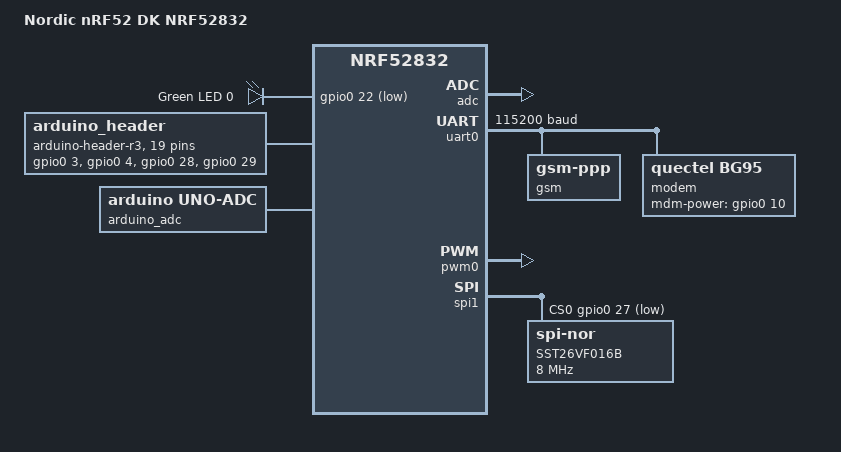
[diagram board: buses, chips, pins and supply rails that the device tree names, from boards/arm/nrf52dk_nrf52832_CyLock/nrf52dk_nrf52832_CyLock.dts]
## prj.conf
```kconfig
CONFIG_GPIO=y
CONFIG_CONSOLE=y
CONFIG_UART_CONSOLE=y
CONFIG_RTT_CONSOLE=y
CONFIG_USE_SEGGER_RTT=y
```

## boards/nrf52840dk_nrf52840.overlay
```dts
/ {
	zephyr,user {
		io-channels = <&adc 0>;
	};
};


/ {
	aliases {
		modemuart = &uart0;
		gnssuart = &uart1;
		gpio0 = &gpio0;
		gpio1 = &gpio1;
		adc0 =  &adc;
		adc = &adc;
		i2c0 = &i2c0;
	};
};

/{
	chosen {
		zephyr,console = &uart0;
		zephyr,shell-uart = &uart0;
		zephyr,uart-mcumgr = &uart0;
		zephyr,bt-mon-uart = &uart0;
		zephyr,bt-c2h-uart = &uart0;
		zephyr,sram = &sram0;
		zephyr,flash = &flash0;
		// zephyr,code-partition = &slot0_partition;
		nordic,pm-ext-flash = &SST26VF016B;
	};


	leds {
		compatible = "gpio-leds";
		led0: led_0 {
			status = "disabled";
			gpios = <&gpio0 13 GPIO_ACTIVE_LOW>;
			label = "Green LED 0";
		};
		led1: led_1 {
			status = "disabled";
			gpios = <&gpio0 14 GPIO_ACTIVE_LOW>;
			label = "Green LED 1";
		};
		led2: led_2 {
			status = "disabled";
			gpios = <&gpio0 15 GPIO_ACTIVE_LOW>;
			label = "Green LED 2";
		};
		led3: led_3 {
			status = "disabled";
			gpios = <&gpio0 16 GPIO_ACTIVE_LOW>;
			label = "Green LED 3";
		};
	};

	pwmleds {
		compatible = "pwm-leds";
		status = "disabled";
		pwm_led0: pwm_led_0 {
			pwms = <&pwm0 0 PWM_MSEC(20) PWM_POLARITY_INVERTED>;
		};
	};

	buttons {
		compatible = "gpio-keys";
		button0: button_0 {
			status = "disabled";
			gpios = <&gpio1 0 (GPIO_PULL_UP | GPIO_ACTIVE_HIGH)>;
			label = "Push button switch 0";
			zephyr,code = <INPUT_KEY_0>;
		};
		button1: button_1 {
			status = "disabled";
			gpios = <&gpio0 12 (GPIO_PULL_UP | GPIO_ACTIVE_LOW)>;
			label = "Push button switch 1";
			zephyr,code = <INPUT_KEY_1>;
		};
		button2: button_2 {
			status = "disabled";
			gpios = <&gpio0 24 (GPIO_PULL_UP | GPIO_ACTIVE_LOW)>;
			label = "Push button switch 2";
			zephyr,code = <INPUT_KEY_2>;
		};
		button3: button_3 {
			status = "disabled";
			gpios = <&gpio0 25 (GPIO_PULL_UP | GPIO_ACTIVE_LOW)>;
			label = "Push button switch 3";
			zephyr,code = <INPUT_KEY_3>;
		};
	};

};

&pinctrl {


	spi1_default: spi1_default {
		group1 {
			psels = <NRF_PSEL(SPIM_SCK, 0, 23)>,
			        <NRF_PSEL(SPIM_MOSI, 0, 24)>,
			        <NRF_PSEL(SPIM_MISO, 0, 22)>;
		};
	};

	spi1_sleep: spi1_sleep {
		group1 {
			psels = <NRF_PSEL(SPIM_SCK, 0, 23)>,
			        <NRF_PSEL(SPIM_MOSI, 0, 24)>,
			        <NRF_PSEL(SPIM_MISO, 0, 22)>;
			low-power-enable;
		};
	};

	i2c0_default: i2c0_default {
		group1 {
			psels = <NRF_PSEL(TWIM_SDA, 0, 13)>,
					<NRF_PSEL(TWIM_SCL, 0, 14)>;
			bias-pull-up;
		};
	};

	i2c0_sleep: i2c0_sleep {
		group1 {
			psels = <NRF_PSEL(TWIM_SDA, 0, 13)>,
					<NRF_PSEL(TWIM_SCL, 0, 14)>;
			bias-pull-up;
			low-power-enable;
		};
	};
};

&uart1 {
	status = "disabled";
	current-speed = <9600>;


	gnss: gnss-nmea-generic {
		status = "okay";
		compatible = "gnss-nmea-generic";
		// uart-baudrate = <115200>;
		zephyr,deferred-init;
	};
};

&i2c0 {
	status = "disabled";
	lis2dh12: lis2dh12@19 {
		compatible = "st,lis2dh12", "st,lis2dh";
		reg = <0x19>;
		disconnect-sdo-sa0-pull-up;
		zephyr,deferred-init;
		// irq-gpios = <&gpio1 8 GPIO_ACTIVE_HIGH>;
	};

	pfc8563_rtc: pfc8563@51 {
		compatible = "nxp,pcf8563";
		reg = <0x51>;
		status = "okay";
		alarms-count = <1>;
	};

};

&adc {
	status = "disabled";
	#address-cells = <1>;
	#size-cells = <0>;

	channel@0 {
		reg = <0>;
		zephyr,gain = "ADC_GAIN_1_6";
		zephyr,reference = "ADC_REF_INTERNAL";
		zephyr,acquisition-time = <ADC_ACQ_TIME_DEFAULT>;
		zephyr,input-positive = <NRF_SAADC_AIN0>; /* P0.02 */
		zephyr,resolution = <12>;
	};
};



&i2c1 {
	status = "disabled";
};


&spi0 {
	status = "disabled";
};

&spi1 {
	status = "disabled";
	cs-gpios = <&gpio0 21 GPIO_ACTIVE_LOW>;
	SST26VF016B: SST26VF016B@0 {
		compatible = "jedec,spi-nor";
		reg = <0>;
		spi-max-frequency = <8000000>;
		requires-ulbpr;
		// label = "SST26VF016B";
		jedec-id = [ BF 26 41  ];
		//sfdp-bfp = [
		//    e5 20 f1 ff  ff ff ff 03  44 eb 08 6b  08 3b 04 bb
		//    ee ff ff ff  ff ff 00 ff  ff ff 00 ff  0c 20 0f 52
		//    10 d8 00 ff  23 72 f5 00  82 ed 04 cc  44 83 68 44
		//    30 b0 30 b0  f7 c4 d5 5c  00 be 29 ff  f0 d0 ff ff
		//];
		size = <16777216>;
		//size = <67108864>;
		status = "okay";
		has-dpd;
		t-enter-dpd = <10000>;
		t-exit-dpd = <35000>;
	};

};

&spi2 {
	status = "disabled";
};
&spi3 {
	status = "disabled";
};

&qspi {
	status = "disabled";
};
```

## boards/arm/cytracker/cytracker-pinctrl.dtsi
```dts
/*
 * Copyright (c) 2022 Nordic Semiconductor
 * SPDX-License-Identifier: Apache-2.0
 */

&pinctrl {
	uart0_default: uart0_default {
		group1 {
			psels = <NRF_PSEL(UART_TX, 0, 15)>,
			        <NRF_PSEL(UART_RX, 0, 14)>,
			        <NRF_PSEL(UART_RTS, 0, 26)>,
			        <NRF_PSEL(UART_CTS, 0, 25)>;

		};
	};

	uart0_sleep: uart0_sleep {
		group1 {
			psels = <NRF_PSEL(UART_TX, 0, 15)>,
			        <NRF_PSEL(UART_RX, 0, 14)>,
			        <NRF_PSEL(UART_RTS, 0, 26)>,
			        <NRF_PSEL(UART_CTS, 0, 25)>;
			low-power-enable;
		};
	};

	i2c0_default: i2c0_default {
		group1 {
			psels = <NRF_PSEL(TWIM_SDA, 0, 26)>,
					<NRF_PSEL(TWIM_SCL, 0, 27)>;
		};
	};

	i2c0_sleep: i2c0_sleep {
		group1 {
			psels = <NRF_PSEL(TWIM_SDA, 0, 26)>,
					<NRF_PSEL(TWIM_SCL, 0, 27)>;
			low-power-enable;
		};
	};

	i2c1_default: i2c1_default {
		group1 {
			psels = <NRF_PSEL(TWIM_SDA, 0, 30)>,
					<NRF_PSEL(TWIM_SCL, 0, 31)>;
		};
	};

	i2c1_sleep: i2c1_sleep {
		group1 {
			psels = <NRF_PSEL(TWIM_SDA, 0, 30)>,
					<NRF_PSEL(TWIM_SCL, 0, 31)>;
			low-power-enable;
		};
	};

	pwm0_default: pwm0_default {
		group1 {
			psels = <NRF_PSEL(PWM_OUT0, 0, 17)>;
			nordic,invert;
		};
	};

	pwm0_sleep: pwm0_sleep {
		group1 {
			psels = <NRF_PSEL(PWM_OUT0, 0, 17)>;
			low-power-enable;
		};
	};

	spi0_default: spi0_default {
		group1 {
			psels = <NRF_PSEL(SPIM_SCK, 0, 29)>,
			        <NRF_PSEL(SPIM_MOSI, 0, 31)>,
			        <NRF_PSEL(SPIM_MISO, 0, 28)>;
		};
	};

	spi0_sleep: spi0_sleep {
		group1 {
			psels = <NRF_PSEL(SPIM_SCK, 0, 27)>,
			        <NRF_PSEL(SPIM_MOSI, 0, 26)>,
			        <NRF_PSEL(SPIM_MISO, 0, 28)>;
			low-power-enable;
		};
	};

	spi1_default: spi1_default {
		group1 {
			psels = <NRF_PSEL(SPIM_SCK, 0, 29)>,
			        <NRF_PSEL(SPIM_MOSI, 0, 31)>,
			        <NRF_PSEL(SPIM_MISO, 0, 28)>;
		};
	};

	spi1_sleep: spi1_sleep {
		group1 {
			psels = <NRF_PSEL(SPIM_SCK, 0, 29)>,
			        <NRF_PSEL(SPIM_MOSI, 0, 31)>,
			        <NRF_PSEL(SPIM_MISO, 0, 28)>;
			low-power-enable;
		};
	};

	spi2_default: spi2_default {
		group1 {
			psels = <NRF_PSEL(SPIM_SCK, 0, 25)>,
			        <NRF_PSEL(SPIM_MOSI, 0, 23)>,
			        <NRF_PSEL(SPIM_MISO, 0, 24)>;
		};
	};

	spi2_sleep: spi2_sleep {
		group1 {
			psels = <NRF_PSEL(SPIM_SCK, 0, 25)>,
			        <NRF_PSEL(SPIM_MOSI, 0, 23)>,
			        <NRF_PSEL(SPIM_MISO, 0, 24)>;
			low-power-enable;
		};
	};

};
```

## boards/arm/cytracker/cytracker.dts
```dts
// Copyright (c) 2024 Nordic Semiconductor ASA
// SPDX-License-Identifier: Apache-2.0

/dts-v1/;
#include <nordic/nrf52840_qiaa.dtsi>
#include "cytracker-pinctrl.dtsi"
/ {
	aliases {
		modem = &modem;
		modem-uart = &uart0;
	};
};

/ {
	model = "CyTracker";
	compatible = "cypodsolutions,cytracker";

	chosen {
		zephyr,console = &uart0;
		zephyr,shell-uart = &uart0;
		zephyr,uart-mcumgr = &uart0;
		zephyr,bt-mon-uart = &uart0;
		zephyr,bt-c2h-uart = &uart0;
		zephyr,sram = &sram0;
		zephyr,flash = &flash0;
		// zephyr,code-partition = &slot0_partition;
		nordic,pm-ext-flash = &SST26VF016B;
	};
};

&pwm0 {
	status = "okay";
	pinctrl-0 = <&pwm0_default>;
	pinctrl-1 = <&pwm0_sleep>;
	pinctrl-names = "default", "sleep";
};

&adc {
	status = "okay";
};


&spi1 {
	compatible = "nordic,nrf-spi";
	status = "okay";
	pinctrl-0 = <&spi1_default>;
	pinctrl-1 = <&spi1_sleep>;
	pinctrl-names = "default", "sleep";
	cs-gpios = <&gpio0 27 GPIO_ACTIVE_LOW>;
	SST26VF016B: SST26VF016B@0 {
		compatible = "jedec,spi-nor";
		reg = <0>;
		spi-max-frequency = <8000000>;
		requires-ulbpr;
		// label = "SST26VF016B";
		jedec-id = [ BF 26 41  ];
		//sfdp-bfp = [
		//    e5 20 f1 ff  ff ff ff 03  44 eb 08 6b  08 3b 04 bb
		//    ee ff ff ff  ff ff 00 ff  ff ff 00 ff  0c 20 0f 52
		//    10 d8 00 ff  23 72 f5 00  82 ed 04 cc  44 83 68 44
		//    30 b0 30 b0  f7 c4 d5 5c  00 be 29 ff  f0 d0 ff ff
		//];
		size = <16777216>;
		//size = <67108864>;
		status = "okay";
		has-dpd;
		t-enter-dpd = <10000>;
		t-exit-dpd = <35000>;
	};
};


&gpio0 {
	status = "okay";
};


arduino_serial: &uart0 {
	status = "okay";
	compatible = "nordic,nrf-uarte";
	current-speed = <115200>;
	pinctrl-0 = <&uart0_default>;
	pinctrl-1 = <&uart0_sleep>;
	pinctrl-names = "default", "sleep";
	gsm: gsm-modem {
		compatible = "zephyr,gsm-ppp";
		// label = "gsm_ppp";
	};


	modem: modem {
		compatible = "quectel,bg95";
		mdm-power-gpios = <&gpio0 10 GPIO_ACTIVE_HIGH>;
		status = "okay";
	};
	// modem: modem {
		//     compatible = "quectel,bg95";
		//     mdm-power-gpios = <&gpio0 10 GPIO_ACTIVE_HIGH>;
		//     status = "okay";
	// };
};


&flash0 {
	partitions {
		compatible = "fixed-partitions";
		#address-cells = <1>;
		#size-cells = <1>;

		boot_partition: partition@0 {
			label = "mcuboot";
			reg = <0x0 0xc000>;
		};
		slot0_partition: partition@c000 {
			label = "image-0";
			reg = <0xc000 0x72000>;
		};
		slot1_partition: partition@7e000 {
			label = "image-1";
			reg = <0x7e000 0x72000>;
		};
		scratch_partition: partition@f0000 {
			label = "image-scratch";
			reg = <0xf0000 0xa000>;
		};
		storage_partition: partition@fa000 {
			label = "storage";
			reg = <0xfa000 0x6000>;
		};
	};
};
```

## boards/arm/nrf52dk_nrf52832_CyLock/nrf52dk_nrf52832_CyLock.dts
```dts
/*
 * Copyright (c) 2017 Shawn Nock <shawn@monadnock.ca>
 * Copyright (c) 2017 Linaro Limited
 *
 * SPDX-License-Identifier: Apache-2.0
 */
/dts-v1/;
#include <nordic/nrf52832_qfaa.dtsi>
#include "nrf52dk_nrf52832_CyLock-pinctrl.dtsi"

/ {
	aliases {
		modem = &modem;
		modem-uart = &uart0;
	};
};

/ {
	model = "Nordic nRF52 DK NRF52832";
	compatible = "nordic,nrf52-dk-nrf52832";

	chosen {
		zephyr,console = &uart0;
		zephyr,shell-uart = &uart0;
		zephyr,uart-mcumgr = &uart0;
		zephyr,bt-mon-uart = &uart0;
		zephyr,bt-c2h-uart = &uart0;
		zephyr,sram = &sram0;
		zephyr,flash = &flash0;
		// zephyr,code-partition = &slot0_partition;
		nordic,pm-ext-flash = &SST26VF016B;
	};


	leds {
		compatible = "gpio-leds";
		led0: led_0 {
			gpios = <&gpio0 22 GPIO_ACTIVE_LOW>;
			label = "Green LED 0";
			// status = "disabled";
		};
		led1: led_1 {
			gpios = <&gpio0 18 GPIO_ACTIVE_LOW>;
			label = "Green LED 1";
			status = "disabled";
		};
		led2: led_2 {
			gpios = <&gpio0 19 GPIO_ACTIVE_LOW>;
			label = "Green LED 2";
			status = "disabled";
		};
		led3: led_3 {
			gpios = <&gpio0 20 GPIO_ACTIVE_LOW>;
			label = "Green LED 3";
			status = "disabled";
		};
	};

	pwmleds {
		compatible = "pwm-leds";
		pwm_led0: pwm_led_0 {
			pwms = <&pwm0 0 PWM_MSEC(20) PWM_POLARITY_INVERTED>;
			status = "disabled";
		};
	};

	buttons {
		compatible = "gpio-keys";
		button0: button_0 {
			gpios = <&gpio0 13 (GPIO_PULL_UP | GPIO_ACTIVE_LOW)>;
			label = "Push button switch 0";
			status = "disabled";
		};
		button1: button_1 {
			gpios = <&gpio0 14 (GPIO_PULL_UP | GPIO_ACTIVE_LOW)>;
			label = "Push button switch 1";
			status = "disabled";
		};
		button2: button_2 {
			gpios = <&gpio0 15 (GPIO_PULL_UP | GPIO_ACTIVE_LOW)>;
			label = "Push button switch 2";
			status = "disabled";
		};
		button3: button_3 {
			gpios = <&gpio0 16 (GPIO_PULL_UP | GPIO_ACTIVE_LOW)>;
			label = "Push button switch 3";
			status = "disabled";
		};
	};

	arduino_header: connector {
		compatible = "arduino-header-r3";
		#gpio-cells = <2>;
		gpio-map-mask = <0xffffffff 0xffffffc0>;
		gpio-map-pass-thru = <0 0x3f>;
		gpio-map = <0 0 &gpio0 3 0>,    /* A0 */
		<1 0 &gpio0 4 0>,    /* A1 */
		<2 0 &gpio0 28 0>,    /* A2 */
		<3 0 &gpio0 29 0>,    /* A3 */
		<4 0 &gpio0 30 0>,    /* A4 */
		<5 0 &gpio0 31 0>,    /* A5 */
		// <6 0 &gpio0 11 0>,    /* D0 */
		// <7 0 &gpio0 12 0>,    /* D1 */
		<8 0 &gpio0 13 0>,    /* D2 */
		<9 0 &gpio0 14 0>,    /* D3 */
		<10 0 &gpio0 15 0>,    /* D4 */
		<11 0 &gpio0 16 0>,    /* D5 */
		<12 0 &gpio0 17 0>,    /* D6 */
		<13 0 &gpio0 18 0>,    /* D7 */
		<14 0 &gpio0 19 0>,    /* D8 */
		<15 0 &gpio0 20 0>,    /* D9 */
		<16 0 &gpio0 22 0>,    /* D10 */
		<17 0 &gpio0 23 0>,    /* D11 */
		<18 0 &gpio0 24 0>,    /* D12 */
		<19 0 &gpio0 25 0>,    /* D13 */
		<20 0 &gpio0 26 0>;    /* D14 */
		// <21 0 &gpio0 27 0>;    /* D15 */
	};

	arduino_adc: analog-connector {
		compatible = "arduino,uno-adc";
		#io-channel-cells = <1>;
		io-channel-map = <0 &adc 1>, /* A0 = P0.3 = AIN1 */
		                 <1 &adc 2>, /* A1 = P0.4 = AIN2 */
		                 <2 &adc 4>, /* A2 = P0.28 = AIN4 */
		                 <3 &adc 5>, /* A3 = P0.29 = AIN5 */
		                 <4 &adc 6>, /* A4 = P0.30 = AIN6 */
		                 <5 &adc 7>;    /* A5 = P0.31 = AIN7 */
	};

	/* These aliases are provided for compatibility with samples */
	aliases {
		gpio0 = &gpio0;
		watchdog0 = &wdt0;
		spiflash = &spi1;
		led = &led0;
		adc0 =  &adc;
		uart = &uart0;
		spiflash0 = &SST26VF016B;
	};
};

&adc {
	status = "okay";
};

&gpiote {
	status = "okay";
};

&uicr {
	// gpio-as-nreset;
	nfct-pins-as-gpios;
};


&gpio0 {
	status = "okay";
};

arduino_serial: &uart0 {
	status = "okay";
	compatible = "nordic,nrf-uarte";
	current-speed = <115200>;
	pinctrl-0 = <&uart0_default>;
	pinctrl-1 = <&uart0_sleep>;
	pinctrl-names = "default", "sleep";
	gsm: gsm-modem {
		compatible = "zephyr,gsm-ppp";
		// label = "gsm_ppp";
	};


	modem: modem {
		compatible = "quectel,bg95";
		mdm-power-gpios = <&gpio0 10 GPIO_ACTIVE_HIGH>;
		status = "okay";
	};
	// modem: modem {
		//     compatible = "quectel,bg95";
		//     mdm-power-gpios = <&gpio0 10 GPIO_ACTIVE_HIGH>;
		//     status = "okay";
	// };
};

arduino_i2c: &i2c0 {
	compatible = "nordic,nrf-twi";
	status = "disabled";
	pinctrl-0 = <&i2c0_default>;
	pinctrl-1 = <&i2c0_sleep>;
	pinctrl-names = "default", "sleep";
};

&i2c1 {
	compatible = "nordic,nrf-twi";
	/* Cannot be used together with spi1. */
	status = "disabled";
	pinctrl-0 = <&i2c1_default>;
	pinctrl-1 = <&i2c1_sleep>;
	pinctrl-names = "default", "sleep";
};

&pwm0 {
	status = "okay";
	pinctrl-0 = <&pwm0_default>;
	pinctrl-1 = <&pwm0_sleep>;
	pinctrl-names = "default", "sleep";
};

&spi0 {
	compatible = "nordic,nrf-spi";
	/* Cannot be used together with i2c0. */
	status = "disabled";
	pinctrl-0 = <&spi0_default>;
	pinctrl-1 = <&spi0_sleep>;
	pinctrl-names = "default", "sleep";
};

&spi1 {
	compatible = "nordic,nrf-spi";
	status = "okay";
	pinctrl-0 = <&spi1_default>;
	pinctrl-1 = <&spi1_sleep>;
	pinctrl-names = "default", "sleep";
	cs-gpios = <&gpio0 27 GPIO_ACTIVE_LOW>;
	SST26VF016B: SST26VF016B@0 {
		compatible = "jedec,spi-nor";
		reg = <0>;
		spi-max-frequency = <8000000>;
		requires-ulbpr;
		// label = "SST26VF016B";
		jedec-id = [ BF 26 41 ];
		//sfdp-bfp = [
		//    e5 20 f1 ff  ff ff ff 03  44 eb 08 6b  08 3b 04 bb
		//    ee ff ff ff  ff ff 00 ff  ff ff 00 ff  0c 20 0f 52
		//    10 d8 00 ff  23 72 f5 00  82 ed 04 cc  44 83 68 44
		//    30 b0 30 b0  f7 c4 d5 5c  00 be 29 ff  f0 d0 ff ff
		//];
		size = <16777216>;
		//size = <67108864>;
		status = "okay";
		has-dpd;
		t-enter-dpd = <10000>;
		t-exit-dpd = <35000>;
	};
};

arduino_spi: &spi2 {
	compatible = "nordic,nrf-spi";
	status = "disabled";
	cs-gpios = <&arduino_header 16 GPIO_ACTIVE_LOW>; /* D10 */
	pinctrl-0 = <&spi2_default>;
	pinctrl-1 = <&spi2_sleep>;
	pinctrl-names = "default", "sleep";
};


&flash0 {

	partitions {
		 compatible = "fixed-partitions";
		 #address-cells = <1>;
		 #size-cells = <1>;
 
		boot_partition: partition@0 {
			 label = "mcuboot";
			 reg = <0x00000000 0xD000>;
		 };
		 slot0_partition: partition@d000 {
			 label = "image-0";
			 reg = <0x0000D000 0x31800>;
		 };
		 slot1_partition: partition@3e800 {
			 label = "image-1";
			 reg = <0x0003E800 0x31800>;
		 };
		 scratch_partition: partition@70000 {
			 label = "image-scratch";
			 reg = <0x00070000 0xa000>;
		 };
		 storage_partition: partition@7a000 {
			 label = "storage";
			 reg = <0x0007a000 0x00006000>;
		 };
	 };
 };
 
```

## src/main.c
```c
/*
 * Copyright (c) 2016 Open-RnD Sp. z o.o.
 * Copyright (c) 2020 Nordic Semiconductor ASA
 *
 * SPDX-License-Identifier: Apache-2.0
 */

#include <zephyr/kernel.h>
#include <zephyr/device.h>
#include <zephyr/drivers/gpio.h>
#include <zephyr/sys/util.h>
#include <zephyr/sys/printk.h>
#include <inttypes.h>

#define SLEEP_TIME_MS	1

/*
 * Get button configuration from the devicetree sw0 alias. This is mandatory.
 */
// #define SW0_NODE	DT_ALIAS(sw0)
// #if !DT_NODE_HAS_STATUS(SW0_NODE, okay)
// #error "Unsupported board: sw0 devicetree alias is not defined"
// #endif
static const struct gpio_dt_spec button = GPIO_DT_SPEC_GET_OR(SW0_NODE, gpios,
							      {0});
static struct gpio_callback button_cb_data;

/*
 * The led0 devicetree alias is optional. If present, we'll use it
 * to turn on the LED whenever the button is pressed.
 */
static struct gpio_dt_spec led = GPIO_DT_SPEC_GET_OR(DT_ALIAS(led0), gpios,
						     {0});

void button_pressed(const struct device *dev, struct gpio_callback *cb,
		    uint32_t pins)
{
	printk("Button pressed at %" PRIu32 "\n", k_cycle_get_32());
}

int main(void)
{
	int ret;
const struct device *gpio_device;
  gpio_device = DEVICE_DT_GET(DT_NODELABEL(gpio0));

	gpio_pin_configure(gpio_device,27,GPIO_INPUT);
	gpio_pin_configure(gpio_device,26,GPIO_INPUT);
	gpio_pin_configure(gpio_device,2,GPIO_INPUT);
	gpio_pin_configure(gpio_device,30,GPIO_OUTPUT);
	gpio_pin_configure(gpio_device,31,GPIO_OUTPUT);
	printk("switching motor ON\r\n");
	gpio_pin_set(gpio_device,30,1);
	// gpio_pin_set(gpio_device,31,0);
	k_msleep(3000);
		printk("switching motor OFF\r\n");
		// gpio_pin_set(gpio_device,31,1);
	gpio_pin_set(gpio_device,30,0);
	k_msleep(3000);
		// gpio_pin_set(gpio_device,31,0);

	while(1){
		printk("gpios %d, %d, %d\r\n",
		gpio_pin_get(gpio_device,27),
		gpio_pin_get(gpio_device,26),
		gpio_pin_get(gpio_device,2)
		);
		k_msleep(200);
	}
	// if (!gpio_is_ready_dt(&button)) {
	// 	printk("Error: button device %s is not ready\n",
	// 	       button.port->name);
	// 	return 0;
	// }

	// ret = gpio_pin_configure_dt(&button, GPIO_INPUT);
	// if (ret != 0) {
	// 	printk("Error %d: failed to configure %s pin %d\n",
	// 	       ret, button.port->name, button.pin);
	// 	return 0;
	// }

	// ret = gpio_pin_interrupt_configure_dt(&button,
	// 				      GPIO_INT_EDGE_TO_ACTIVE);
	// if (ret != 0) {
	// 	printk("Error %d: failed to configure interrupt on %s pin %d\n",
	// 		ret, button.port->name, button.pin);
	// 	return 0;
	// }

	// gpio_init_callback(&button_cb_data, button_pressed, BIT(button.pin));
	// gpio_add_callback(button.port, &button_cb_data);
	// printk("Set up button at %s pin %d\n", button.port->name, button.pin);

	// if (led.port && !gpio_is_ready_dt(&led)) {
	// 	printk("Error %d: LED device %s is not ready; ignoring it\n",
	// 	       ret, led.port->name);
	// 	led.port = NULL;
	// }
	// if (led.port) {
	// 	ret = gpio_pin_configure_dt(&led, GPIO_OUTPUT);
	// 	if (ret != 0) {
	// 		printk("Error %d: failed to configure LED device %s pin %d\n",
	// 		       ret, led.port->name, led.pin);
	// 		led.port = NULL;
	// 	} else {
	// 		printk("Set up LED at %s pin %d\n", led.port->name, led.pin);
	// 	}
	// }

	// printk("Press the button\n");
	// if (led.port) {
	// 	while (1) {
	// 		/* If we have an LED, match its state to the button's. */
	// 		int val = gpio_pin_get_dt(&button);

	// 		if (val >= 0) {
	// 			gpio_pin_set_dt(&led, val);
	// 		}
	// 		k_msleep(SLEEP_TIME_MS);
	// 	}
	// }
	// return 0;
}
```
